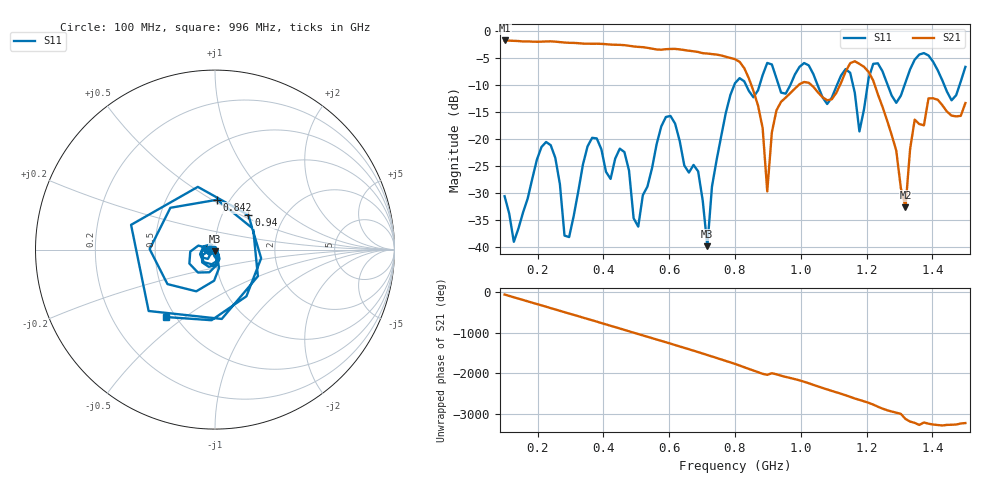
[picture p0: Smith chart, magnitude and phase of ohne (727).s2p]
! NanoVNA-App
! Date: 2025-09-25 14:26:27
! Start: 100MHz Stop: 1,5GHz Points: 101
! S-Parameter data: F S11 S21 S12 S22
# Hz S RI R 50
!  Frequency  S11_Real  S11_Imag  S21_Real  S21_Imag  S12_Real  S12_Imag  S22_Real  S22_Imag
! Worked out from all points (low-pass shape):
!   101 points, 100 MHz to 1.5 GHz, reference 50 ohm
!   highest |S21| = -1.79 dB at 100 MHz (marker M1); lowest = -32.7 dB at 1.318 GHz (marker M2)
!   |S21| within 3 dB of the highest: start of sweep to 771.1 MHz
!   lowest |S11| = -39.9 dB at 716 MHz (marker M3), VSWR 1.02, Z = 49.8 - j0.989 ohm
!   |S11| at or under -10 dB: start of sweep to 798.1 MHz; 833.1 MHz to 875.1 MHz (41.94 MHz wide, 4.91 % of centre); 1.051 GHz to 1.11 GHz (59.6 MHz wide, 5.52 % of centre) (the widest 3 of 7)
!   S12 and S22 are empty: the file has one direction only
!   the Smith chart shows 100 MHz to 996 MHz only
!   S11 on the Smith chart (normalised r, x): 100 MHz: 0.94, -0.01; 842 MHz: 0.88, +0.53; 940 MHz: 1.33, +0.55; 996 MHz: 0.45, -0.43
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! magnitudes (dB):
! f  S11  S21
! 100 MHz  -30.6  -1.8
! 128 MHz  -39.1  -1.9
! 226 MHz  -20.6  -2.0
! 296 MHz  -38.2  -2.2
! 338 MHz  -24.8  -2.4
! 464 MHz  -22.5  -2.7
! 506 MHz  -36.3  -3.0
! 576 MHz  -17.7  -3.5
! 688 MHz  -26.0  -3.9
! 716 MHz  -39.9  -4.2
! 800 MHz  -9.7  -5.3
! 842 MHz  -11.1  -8.8
! 898 MHz  -6.0  -29.7
! 940 MHz  -11.5  -13.2
! 996 MHz  -6.7  -9.9
! 1.038 GHz  -8.0  -10.4
! 1.178 GHz  -18.6  -6.1
! 1.22 GHz  -6.1  -9.2
! 1.276 GHz  -12.0  -19.3
! 1.318 GHz  -9.6  -32.7
! 1.346 GHz  -5.3  -16.5
! 1.5 GHz  -6.7  -13.4
